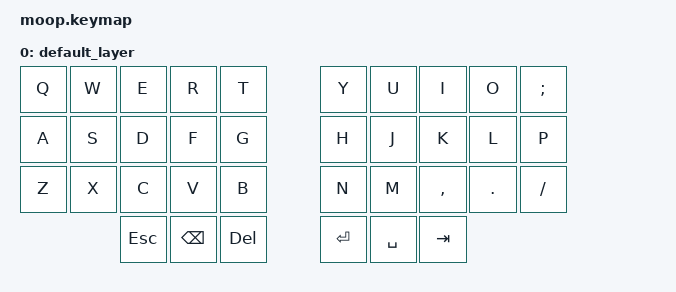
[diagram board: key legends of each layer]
/*
 * Copyright (c) 2020 The ZMK Contributors
 *
 * SPDX-License-Identifier: MIT
 */

#include <behaviors.dtsi>
#include <dt-bindings/zmk/keys.h>
#include <dt-bindings/zmk/bt.h>

/ {
        keymap {
                compatible = "zmk,keymap";
                default_layer {
// -----------------------------------------------------------------------------------------
// |  Q  |  W  |  E  |  R  |  T  |     |  Y  |  U   |  I  |  O  |  ;  |
// |  A  |  S  |  D  |  F  |  G  |     |  H  |  J   |  K  |  L  |  P  |
// |  Z  |  X  |  C  |  V  |  B  |     |  N  |  M   |  ,  |  .  |  /  |
//             | ESC | BS | DEL |     | ENT | SPC  | TAB |
                        bindings = <
      &kp Q &kp W &kp E &kp R &kp T          &kp Y &kp U &kp I &kp O &kp SEMI
      &kp A &kp S &kp D &kp F &kp G          &kp H &kp J &kp K &kp L &kp P
      &kp Z &kp X &kp C &kp V &kp B          &kp N &kp M &kp COMMA &kp DOT &kp FSLH
          &kp ESC &kp BACKSPACE &kp DELETE   &kp RETURN &kp SPACE &kp TAB
                        >;
                };
//                lower_layer {
// -----------------------------------------------------------------------------------------
// |  TAB |  1  |  2  |  3  |  4  |  5  |   |  6  |  7  |  8  |  9  |  0  | BKSP |
// | BTCLR| BT1 | BT2 | BT3 | BT4 | BT5 |   | LFT | DWN |  UP | RGT |     |      |
// | SHFT |     |     |     |     |     |   |     |     |     |     |     |      |
//                    | GUI |     | SPC |   | ENT |     | ALT |
//                        bindings = <
//   &kp TAB    &kp N1       &kp N2       &kp N3       &kp N4       &kp N5         &kp N6   &kp N7   &kp N8 &kp N9    &kp N0 &kp BSPC
//   &bt BT_CLR &bt BT_SEL 0 &bt BT_SEL 1 &bt BT_SEL 2 &bt BT_SEL 3 &bt BT_SEL 4   &kp LEFT &kp DOWN &kp UP &kp RIGHT &trans &trans
//   &kp LSHFT  &trans       &trans       &trans       &trans       &trans         &trans   &trans   &trans &trans    &trans &trans
//                                    &kp LGUI     &trans       &kp SPACE      &kp RET  &trans   &kp RALT
//                        >;
//                };

//                raise_layer {
// -----------------------------------------------------------------------------------------
// |  TAB |  !  |  @  |  #  |  $  |  %  |   |  ^  |  &  |  *  |  (  |  )  | BKSP |
// | CTRL |     |     |     |     |     |   |  -  |  =  |  [  |  ]  |  \  |  `   |
// | SHFT |     |     |     |     |     |   |  _  |  +  |  {  |  }  | "|" |  ~   |
//                    | GUI |     | SPC |   | ENT |     | ALT |
//                        bindings = <
//   &kp  TAB  &kp EXCL &kp AT &kp HASH &kp DLLR &kp PRCNT   &kp CARET &kp AMPS  &kp ASTRK &kp LPAR &kp RPAR &kp BSPC
//   &kp LCTRL &trans   &trans &trans   &trans   &trans      &kp MINUS &kp EQUAL &kp LBKT  &kp RBKT &kp BSLH &kp GRAVE
//   &kp LSHFT &trans   &trans &trans   &trans   &trans      &kp UNDER &kp PLUS  &kp LBRC  &kp RBRC &kp PIPE &kp TILDE
//                             &kp LGUI &trans   &kp SPACE   &kp RET   &trans    &kp RALT
//                        >;
//                };
        };
};
